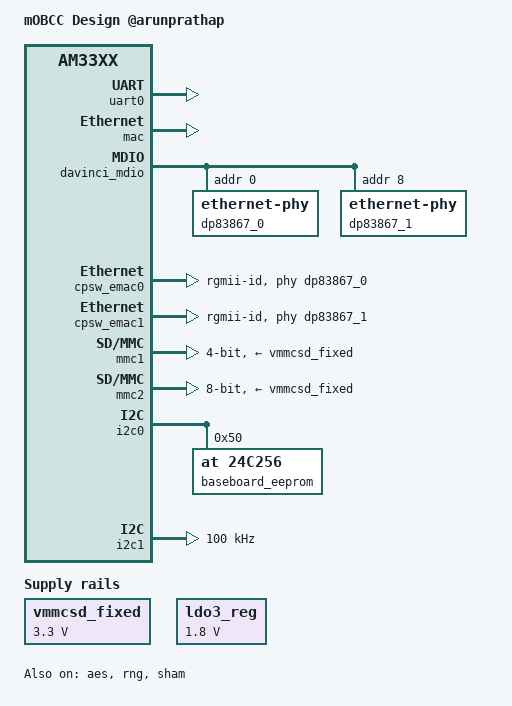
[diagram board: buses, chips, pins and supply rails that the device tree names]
/*
 * Copyright (C) 2017-18 Octavo Systems (octavosystems.com)
 *
 * This program is free software; you can redistribute it and/or modify
 * it under the terms of the GNU General Public License version 2 as
 * published by the Free Software Foundation.
 */

 /dts-v1/;

 #include "osd335x-sm.dtsi"
#include <dt-bindings/net/ti-dp83867.h>

 / {
	vmmcsd_fixed: fixedregulator@0 {
 		compatible = "regulator-fixed";
 		regulator-name = "vmmcsd_fixed";
 		regulator-min-microvolt = <3300000>;
 		regulator-max-microvolt = <3300000>;
 	};
 };

 &uart0 {
 	pinctrl-names = "default";
 	pinctrl-0 = <&uart0_pins>;

 	status = "okay";
 };

 &mac {
	//pinctrl-names = "default","sleep";
	pinctrl-names = "default";	
	pinctrl-0 = <&cpsw_default>;
	//pinctrl-1 = <&cpsw_sleep>;
	dual_emac;
 	status = "okay";
 };

 &davinci_mdio {
	//pinctrl-names = "default","sleep";
	pinctrl-names = "default";
	compatible = "ti,cpsw-mdio","ti,davinci_mdio";
	pinctrl-0 = <&davinci_mdio_default>;
	//pinctrl-1 = <&davinci_mdio_sleep>;
 	status = "okay";

    	dp83867_0: ethernet-phy@0 {
        	reg = <0>;
        	ti,rx-internal-delay = <DP83867_RGMIIDCTL_1_75_NS>;
        	ti,tx-internal-delay = <DP83867_RGMIIDCTL_1_75_NS>;
        	ti,fifo-depth = <DP83867_PHYCR_FIFO_DEPTH_4_B_NIB>;
        	ti,min-output-impedance;
        	ti,dp83867-rxctrl-strap-quirk;
    	};

    	dp83867_1: ethernet-phy@8 {        
		reg = <8>;
        	ti,rx-internal-delay = <DP83867_RGMIIDCTL_1_75_NS>;
        	ti,tx-internal-delay = <DP83867_RGMIIDCTL_1_75_NS>;
        	ti,fifo-depth = <DP83867_PHYCR_FIFO_DEPTH_4_B_NIB>;
        	ti,min-output-impedance;
        	ti,dp83867-rxctrl-strap-quirk;
    	};
 };

&cpsw_emac0 {
    phy_id = <&davinci_mdio>, <0>;
    phy-handle = <&dp83867_0>;
    phy-mode = "rgmii-id";
    dual_emac_res_vlan = <1>;
};

&cpsw_emac1 {
    phy_id = <&davinci_mdio>, <8>;
    phy-handle = <&dp83867_1>;
    phy-mode = "rgmii-id";
    dual_emac_res_vlan = <2>;
};

&ldo3_reg {
	regulator-min-microvolt = <1800000>;
	regulator-max-microvolt = <1800000>;
	regulator-always-on;
};

&mmc1 {
  status = "okay";
  bus-width = <0x4>;
  pinctrl-names = "default";
  pinctrl-0 = <&mmc1_pins>;
  //cd-gpios = <&gpio0 6 GPIO_ACTIVE_LOW>;

	vmmc-supply = <&vmmcsd_fixed>;
};

&mmc2 {
	vmmc-supply = <&vmmcsd_fixed>;
	pinctrl-names = "default";
	pinctrl-0 = <&emmc_pins>;
	bus-width = <8>;
  	gpio-reset = <&gpio2 25 GPIO_ACTIVE_LOW>;
	status = "okay";
};

&cpu0_opp_table {
	/*
	 * All PG 2.0 silicon may not support 1GHz but some of the early
	 * BeagleBone Blacks have PG 2.0 silicon which is guaranteed
	 * to support 1GHz OPP so enable it for PG 2.0 on this board.
	 */
	oppnitro@1000000000 {
		opp-supported-hw = <0x06 0x0100>;
	};
};

&aes {
	status = "okay";
};

&rng {
	status = "okay";
};

&sham {
	status = "okay";
};

&wkup_m3_ipc {
	ti,scale-data-fw = "am335x-bone-scale-data.bin";
};

&rtc {
	clocks = <&clk_32768_ck>, <&clkdiv32k_ick>;
	clock-names = "ext-clk", "int-clk";
	system-power-controller;
};

&am33xx_pinmux {

i2c0_pins: pinmux_i2c0_pins {
  pinctrl-single,pins = <
    AM33XX_IOPAD(0x988, PIN_INPUT_PULLUP | MUX_MODE0)	/* i2c0_sda.i2c0_sda */
    AM33XX_IOPAD(0x98c, PIN_INPUT_PULLUP | MUX_MODE0)	/* i2c0_scl.i2c0_scl */
  >;
};

i2c1_pins: pinmux_i2c1_pins {
  pinctrl-single,pins = <
    AM33XX_IOPAD(0x968, PIN_INPUT_PULLUP | MUX_MODE3)	/* uart0_ctsn.i2c1_sda */
    AM33XX_IOPAD(0x96c, PIN_INPUT_PULLUP | MUX_MODE3)	/* uart0_rtsn.i2c1_scl */
  >;
};

uart0_pins: pinmux_uart0_pins {
  pinctrl-single,pins = <
    AM33XX_IOPAD(0x970, PIN_INPUT_PULLUP | MUX_MODE0)	/* uart0_rxd.uart0_rxd */
    AM33XX_IOPAD(0x974, PIN_OUTPUT_PULLDOWN | MUX_MODE0)	/* uart0_txd.uart0_txd */
  >;
};

cpsw_default: cpsw_default {
  pinctrl-single,pins = <
    /* Slave 1 */
    AM33XX_IOPAD(0x914, PIN_OUTPUT_PULLDOWN | MUX_MODE2) /* (J16) gmii1_txen.gmii1_txen */
    AM33XX_IOPAD(0x918, PIN_INPUT_PULLDOWN | MUX_MODE2) /* (J17) gmii1_rxdv.gmii1_rxdv */
    AM33XX_IOPAD(0x92c, PIN_OUTPUT_PULLDOWN | MUX_MODE2) /* (K18) gmii1_txclk.gmii1_txclk */
    AM33XX_IOPAD(0x930, PIN_INPUT | MUX_MODE2) /* (L18) gmii1_rxclk.gmii1_rxclk */
    AM33XX_IOPAD(0x928, PIN_OUTPUT_PULLDOWN | MUX_MODE2) /* (K17) gmii1_txd0.gmii1_txd0 */
    AM33XX_IOPAD(0x924, PIN_OUTPUT_PULLDOWN | MUX_MODE2) /* (K16) gmii1_txd1.gmii1_txd1 */
    AM33XX_IOPAD(0x920, PIN_OUTPUT_PULLDOWN | MUX_MODE2) /* (K15) gmii1_txd2.gmii1_txd2 */
    AM33XX_IOPAD(0x91c, PIN_OUTPUT_PULLDOWN | MUX_MODE2) /* (J18) gmii1_txd3.gmii1_txd3 */
    AM33XX_IOPAD(0x940, PIN_INPUT_PULLDOWN | MUX_MODE2) /* (M16) gmii1_rxd0.gmii1_rxd0 */
    AM33XX_IOPAD(0x93c, PIN_INPUT_PULLDOWN | MUX_MODE2) /* (L15) gmii1_rxd1.gmii1_rxd1 */
    AM33XX_IOPAD(0x938, PIN_INPUT_PULLDOWN | MUX_MODE2) /* (L16) gmii1_rxd2.gmii1_rxd2 */
    AM33XX_IOPAD(0x934, PIN_INPUT_PULLDOWN | MUX_MODE2) /* (L17) gmii1_rxd3.gmii1_rxd3 */
    /* Slave 2 */
    AM33XX_IOPAD(0x840, PIN_OUTPUT_PULLDOWN | MUX_MODE2) /* (R13) gpmc_a0.gmii2_txen */
    AM33XX_IOPAD(0x844, PIN_INPUT_PULLDOWN | MUX_MODE2) /* (V14) gpmc_a1.gmii2_rxdv */
    AM33XX_IOPAD(0x858, PIN_OUTPUT_PULLDOWN | MUX_MODE2) /* (U15) gpmc_a6.gmii2_txclk */
    AM33XX_IOPAD(0x85c, PIN_INPUT | MUX_MODE2) /* (T15) gpmc_a7.gmii2_rxclk */
    AM33XX_IOPAD(0x854, PIN_OUTPUT_PULLDOWN | MUX_MODE2) /* (V15) gpmc_a5.gmii2_txd0 */
    AM33XX_IOPAD(0x850, PIN_OUTPUT_PULLDOWN | MUX_MODE2) /* (R14) gpmc_a4.gmii2_txd1 */
    AM33XX_IOPAD(0x84c, PIN_OUTPUT_PULLDOWN | MUX_MODE2) /* (T14) gpmc_a3.gmii2_txd2 */
    AM33XX_IOPAD(0x848, PIN_OUTPUT_PULLDOWN | MUX_MODE2) /* (U14) gpmc_a2.gmii2_txd3 */
    AM33XX_IOPAD(0x86c, PIN_INPUT_PULLDOWN | MUX_MODE2) /* (V17) gpmc_a11.gmii2_rxd0 */
    AM33XX_IOPAD(0x868, PIN_INPUT_PULLDOWN | MUX_MODE2) /* (T16) gpmc_a10.gmii2_rxd1 */
    AM33XX_IOPAD(0x864, PIN_INPUT_PULLDOWN | MUX_MODE2) /* (U16) gpmc_a9.gmii2_rxd2 */
    AM33XX_IOPAD(0x860, PIN_INPUT_PULLDOWN | MUX_MODE2) /* (V16) gpmc_a8.gmii2_rxd3 */
  >;
};

cpsw_sleep: cpsw_sleep {
  pinctrl-single,pins = <
    /* Slave 1 reset value */
    AM33XX_IOPAD(0x914, PIN_INPUT_PULLDOWN | MUX_MODE7)
    AM33XX_IOPAD(0x918, PIN_INPUT_PULLDOWN | MUX_MODE7)
    AM33XX_IOPAD(0x91c, PIN_INPUT_PULLDOWN | MUX_MODE7)
    AM33XX_IOPAD(0x920, PIN_INPUT_PULLDOWN | MUX_MODE7)
    AM33XX_IOPAD(0x924, PIN_INPUT_PULLDOWN | MUX_MODE7)
    AM33XX_IOPAD(0x928, PIN_INPUT_PULLDOWN | MUX_MODE7)
    AM33XX_IOPAD(0x92c, PIN_INPUT_PULLDOWN | MUX_MODE7)
    AM33XX_IOPAD(0x930, PIN_INPUT_PULLDOWN | MUX_MODE7)
    AM33XX_IOPAD(0x934, PIN_INPUT_PULLDOWN | MUX_MODE7)
    AM33XX_IOPAD(0x938, PIN_INPUT_PULLDOWN | MUX_MODE7)
    AM33XX_IOPAD(0x93c, PIN_INPUT_PULLDOWN | MUX_MODE7)
    AM33XX_IOPAD(0x940, PIN_INPUT_PULLDOWN | MUX_MODE7)
    /* Slave 2 reset value */
    AM33XX_IOPAD(0x840, PIN_INPUT_PULLDOWN | MUX_MODE7) /* (R13) gpmc_a0.gmii2_txen */
    AM33XX_IOPAD(0x844, PIN_INPUT_PULLDOWN | MUX_MODE7) /* (V14) gpmc_a1.gmii2_rxdv */
    AM33XX_IOPAD(0x858, PIN_INPUT_PULLDOWN | MUX_MODE7) /* (U15) gpmc_a6.gmii2_txclk */
    AM33XX_IOPAD(0x85c, PIN_INPUT_PULLDOWN | MUX_MODE7) /* (T15) gpmc_a7.gmii2_rxclk */
    AM33XX_IOPAD(0x854, PIN_INPUT_PULLDOWN | MUX_MODE7) /* (V15) gpmc_a5.gmii2_txd0 */
    AM33XX_IOPAD(0x850, PIN_INPUT_PULLDOWN | MUX_MODE7) /* (R14) gpmc_a4.gmii2_txd1 */
    AM33XX_IOPAD(0x84c, PIN_INPUT_PULLDOWN | MUX_MODE7) /* (T14) gpmc_a3.gmii2_txd2 */
    AM33XX_IOPAD(0x848, PIN_INPUT_PULLDOWN | MUX_MODE7) /* (U14) gpmc_a2.gmii2_txd3 */
    AM33XX_IOPAD(0x86c, PIN_INPUT_PULLDOWN | MUX_MODE7) /* (V17) gpmc_a11.gmii2_rxd0 */
    AM33XX_IOPAD(0x868, PIN_INPUT_PULLDOWN | MUX_MODE7) /* (T16) gpmc_a10.gmii2_rxd1 */
    AM33XX_IOPAD(0x864, PIN_INPUT_PULLDOWN | MUX_MODE7) /* (U16) gpmc_a9.gmii2_rxd2 */
    AM33XX_IOPAD(0x860, PIN_INPUT_PULLDOWN | MUX_MODE7) /* (V16) gpmc_a8.gmii2_rxd3 */
  >;
};

davinci_mdio_default: davinci_mdio_default {
  pinctrl-single,pins = <
    /* MDIO */
    AM33XX_IOPAD(0x948, PIN_INPUT_PULLUP | SLEWCTRL_FAST | MUX_MODE0)	/* mdio_data.mdio_data */
    AM33XX_IOPAD(0x94c, PIN_OUTPUT_PULLDOWN | MUX_MODE0)			/* mdio_clk.mdio_clk */
  >;
};

davinci_mdio_sleep: davinci_mdio_sleep {
  pinctrl-single,pins = <
    /* MDIO reset value */
    AM33XX_IOPAD(0x948, PIN_INPUT_PULLDOWN | MUX_MODE7)
    AM33XX_IOPAD(0x94c, PIN_INPUT_PULLDOWN | MUX_MODE7)
  >;
};

mmc1_pins: pinmux_mmc1_pins {
  pinctrl-single,pins = <
    AM33XX_IOPAD(0x900, PIN_INPUT_PULLUP | MUX_MODE0) /* (G17) mmc0_clk.mmc0_clk */
    AM33XX_IOPAD(0x904, PIN_INPUT_PULLUP | MUX_MODE0) /* (G18) mmc0_cmd.mmc0_cmd */
    AM33XX_IOPAD(0x8fc, PIN_INPUT_PULLUP | MUX_MODE0) /* (G16) mmc0_dat0.mmc0_dat0 */
    AM33XX_IOPAD(0x8f8, PIN_INPUT_PULLUP | MUX_MODE0) /* (G15) mmc0_dat1.mmc0_dat1 */
    AM33XX_IOPAD(0x8f4, PIN_INPUT_PULLUP | MUX_MODE0) /* (F18) mmc0_dat2.mmc0_dat2 */
    AM33XX_IOPAD(0x8f0, PIN_INPUT_PULLUP | MUX_MODE0) /* (F17) mmc0_dat3.mmc0_dat3 */
    //AM33XX_IOPAD(0x960, PIN_INPUT_PULLUP | MUX_MODE7) /* GPIO0_6 */
  >;
};

emmc_pins: pinmux_emmc_pins {
  pinctrl-single,pins = <
    AM33XX_IOPAD(0x880, PIN_INPUT_PULLUP | MUX_MODE2) /* gpmc_csn1.mmc1_clk */
    AM33XX_IOPAD(0x884, PIN_INPUT_PULLUP | MUX_MODE2) /* gpmc_csn2.mmc1_cmd */
    AM33XX_IOPAD(0x800, PIN_INPUT_PULLUP | MUX_MODE1) /* gpmc_ad0.mmc1_dat0 */
    AM33XX_IOPAD(0x804, PIN_INPUT_PULLUP | MUX_MODE1) /* gpmc_ad1.mmc1_dat1 */
    AM33XX_IOPAD(0x808, PIN_INPUT_PULLUP | MUX_MODE1) /* gpmc_ad2.mmc1_dat2 */
    AM33XX_IOPAD(0x80c, PIN_INPUT_PULLUP | MUX_MODE1) /* gpmc_ad3.mmc1_dat3 */
    AM33XX_IOPAD(0x810, PIN_INPUT_PULLUP | MUX_MODE1) /* gpmc_ad4.mmc1_dat4 */
    AM33XX_IOPAD(0x814, PIN_INPUT_PULLUP | MUX_MODE1) /* gpmc_ad5.mmc1_dat5 */
    AM33XX_IOPAD(0x818, PIN_INPUT_PULLUP | MUX_MODE1) /* gpmc_ad6.mmc1_dat6 */
    AM33XX_IOPAD(0x81c, PIN_INPUT_PULLUP | MUX_MODE1) /* gpmc_ad7.mmc1_dat7 */
    AM33XX_IOPAD(0x8ec, PIN_OUTPUT_PULLUP | MUX_MODE7) /* GPIO2_25 */
  >;
};
};

&i2c0 {

  baseboard_eeprom: baseboard_eeprom@50 {
    compatible = "at,24c256";
    reg = <0x50>;

    #address-cells = <1>;
    #size-cells = <1>;
    baseboard_data: baseboard_data@0 {
      reg = <0 0x100>;
    };
  };
};

&ocp {
	imu_int_en: imu_int_en {
		/*compatible = "bone-pinmux-helper";*/
		compatible = "ti,omap4-gpio";
		pinctrl-names = "default";
		//pinctrl-0 = <&imu_interrupt>;
	};
};

&i2c1 {
	pinctrl-names = "default";
	pinctrl-0 = <&i2c1_pins>;

	status = "okay";
	clock-frequency = <100000>;

	/*to add ext rtc here

	cape_eeprom0: cape_eeprom0@54 {
		compatible = "at,24c256";
		reg = <0x54>;
		#address-cells = <1>;
		#size-cells = <1>;
		cape0_data: cape_data@0 {
			reg = <0 0x100>;
		};
	};

	cape_eeprom1: cape_eeprom1@55 {
		compatible = "at,24c256";
		reg = <0x55>;
		#address-cells = <1>;
		#size-cells = <1>;
		cape1_data: cape_data@0 {
			reg = <0 0x100>;
		};
	};

	cape_eeprom2: cape_eeprom2@56 {
		compatible = "at,24c256";
		reg = <0x56>;
		#address-cells = <1>;
		#size-cells = <1>;
		cape2_data: cape_data@0 {
			reg = <0 0x100>;
		};
	};

	cape_eeprom3: cape_eeprom3@57 {
		compatible = "at,24c256";
		reg = <0x57>;
		#address-cells = <1>;
		#size-cells = <1>;
		cape3_data: cape_data@0 {
			reg = <0 0x100>;
		};
	};*/
};


/ {

	model = "mOBCC Design @arunprathap";
	compatible = "oct,osd335x-reference-design", "ti,am335x-bone", "ti,am33xx";
};

/* the cape manager */
/ {
	bone_capemgr {
		compatible = "ti,bone-capemgr";
		status = "okay";

		//nvmem-cells = <&baseboard_data &cape0_data &cape1_data &cape2_data &cape3_data>;
		nvmem-cell-names = "baseboard", "slot0", "slot1", "slot2", "slot3";
		#slots = <4>;

		/* map board revisions to compatible definitions */
		baseboardmaps {
			baseboard_beaglebone: board@0 {
				board-name = "A335BONE";
				compatible-name = "ti,beaglebone";
			};

			baseboard_beaglebone_black: board@1 {
				board-name = "A335BNLT";
				compatible-name = "ti,beaglebone-black";
			};
		};
	};
};
